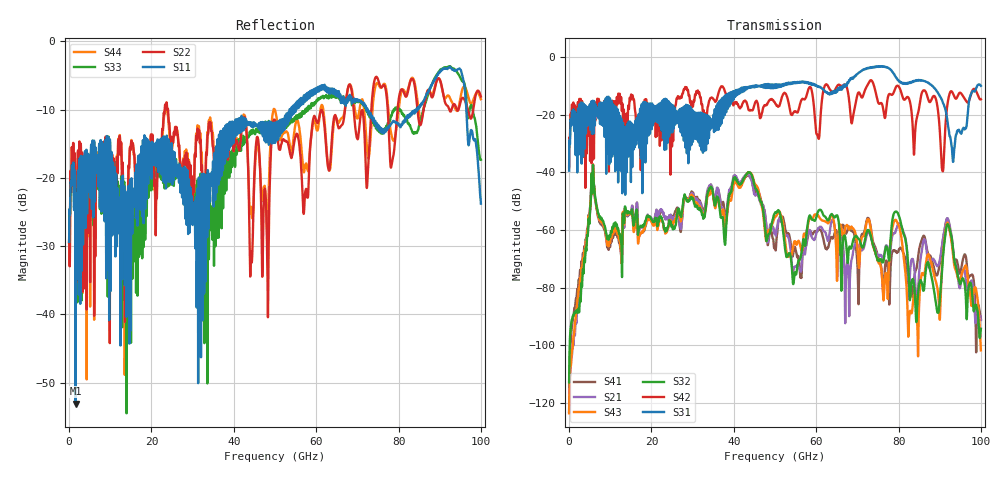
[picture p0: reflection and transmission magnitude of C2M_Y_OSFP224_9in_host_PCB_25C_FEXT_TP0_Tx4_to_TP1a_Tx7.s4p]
# GHz S RI R 45
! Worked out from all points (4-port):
!   4000 points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, 25 MHz to 100 GHz, reference 45 ohm
!   strongest paths, dB at 25 MHz, 25.02 GHz, 50.02 GHz, 75.03 GHz, 100 GHz:
!     S31: -39.4, -23.2, -10.7, -3.3, -9.9
!     S42: -38.2, -30.2, -15.9, -15.6, -14.6
!     S32: -112.9, -58.3, -53.9, -70.5, -94.3
!     S43: -123.6, -57.3, -55.3, -70.9, -101.8
!     S21: -123.2, -55.6, -60.6, -68.7, -91.2
!     S41: -123.2, -55.4, -65.8, -69.2, -90.8
!   lowest |S11| = -53.0 dB at 1.6 GHz (marker M1), VSWR 1.00, Z = 44.8 + j0.0588 ohm
!   |S11| at or under -10 dB: start of sweep to 53.57 GHz; 72.49 GHz to 84.36 GHz (11.88 GHz wide, 15.1 % of centre); 96.47 GHz to end of sweep (the widest 3 of 9)
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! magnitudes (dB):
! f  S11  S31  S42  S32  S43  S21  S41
! 25 MHz  -29.4  -39.4  -38.2  -112.9  -123.6  -123.2  -123.2
! 1.6 GHz  -53.0  -32.6  -27.7  -88.1  -90.8  -91.6  -84.6
! 5.8 GHz  -15.8  -16.0  -28.8  -37.4  -37.2  -37.5  -37.3
! 43.62 GHz  -12.1  -10.5  -18.3  -39.9  -40.0  -40.9  -41.1
! 54.67 GHz  -9.6  -8.9  -18.8  -76.0  -64.0  -72.9  -66.6
! 79.4 GHz  -11.9  -7.0  -10.3  -53.6  -56.5  -59.9  -67.3
! 100 GHz  -23.8  -9.9  -14.6  -94.3  -101.8  -91.2  -90.8
